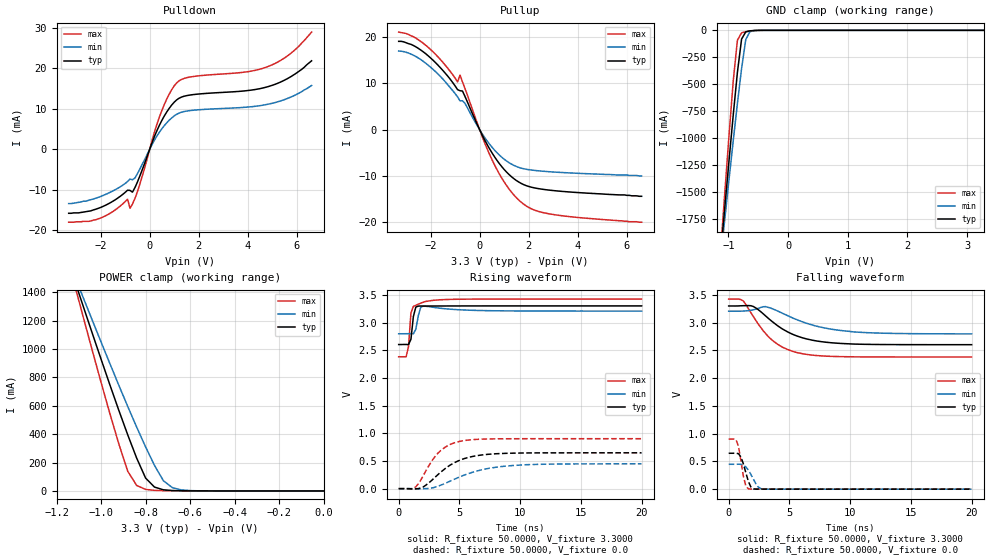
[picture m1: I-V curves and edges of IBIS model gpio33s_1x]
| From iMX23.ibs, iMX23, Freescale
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|   Model gpio33s_1x
[Model]  gpio33s_1x
Model_type I/O
Polarity   Non-Inverting
Enable   Active-Low
Vinl =   0.8000V
Vinh =   2.0000V
Vmeas =  1.6500V
Cref =   30.0000pF
Rref =   50.0000
Vref =   1.6500V
C_comp   3.0000pF   2.0000pF   4.0000pF
[Temperature Range]   50.0000   100.0000   0.0
[Voltage Range]   3.3000V   3.0000V   3.6000V
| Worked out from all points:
|   slope of the pulldown table from 0 to 0.495 V, typ, clamps not added: 69.4 ohm
|   slope of the pullup table from 0 to 0.495 V, typ, clamps not added: 100 ohm
|   GND clamp passes 1 mA (typ) near -0.53 V on its own axis
|   POWER clamp passes 1 mA (typ) near -0.63 V on its own axis
|   rising waveform, R_fixture 50.0000, V_fixture 3.3000: 20-80 % time 240ps typ, 207ps min, 263ps max; typ from 2.6 V to 3.3 V
|   rising waveform, R_fixture 50.0000, V_fixture 0.0: 20-80 % time 2.46ns typ, 3.46ns min, 1.77ns max; typ from 0 V to 0.647 V
|   falling waveform, R_fixture 50.0000, V_fixture 3.3000: 20-80 % time 3.02ns typ, 3.68ns min, 2.46ns max; typ from 3.3 V to 2.6 V
|   falling waveform, R_fixture 50.0000, V_fixture 0.0: 20-80 % time 534ps typ, 701ps min, 423ps max; typ from 0.647 V to 0 V
[Pulldown]
|Voltage   I(typ)   I(min)   I(max)
-3.3V     -15.8mA    -13.4mA    -18mA
-2V       -14.36mA   -11.65mA   -16.97mA
-900mV    -10.09mA   -7.947mA   -12.32mA
-800mV    -10.15mA   -7.34mA    -14.55mA
-700mV    -10.57mA   -7.514mA   -13.49mA
-600mV    -9.461mA   -7.082mA   -12.14mA
500mV     7.192mA    5.125mA    9.655mA
900mV     10.97mA    7.786mA    14.77mA
1.2V      12.65mA    8.983mA    16.95mA
4.8V      15.47mA    11.14mA    20.43mA
5.7V      17.78mA    12.8mA     23.49mA
6.6V      21.9mA     15.8mA     29mA
[Pullup]
|Voltage   I(typ)   I(min)   I(max)
-3.3V     19.1mA     17mA       21.1mA
-2.7V     18.2mA     16.1mA     20.1mA
-2.1V     15.98mA    13.95mA    17.81mA
-900mV    8.662mA    7.085mA    10.32mA
-800mV    8.419mA    6.229mA    11.81mA
-600mV    7.215mA    5.717mA    8.94mA
100mV     -1.111mA   -850.3uA   -1.424mA
600mV     -5.81mA    -4.381mA   -7.542mA
1.2V      -9.706mA   -7.14mA    -12.84mA
1.8V      -11.89mA   -8.451mA   -16.13mA
3.1V      -13.21mA   -9.181mA   -18.42mA
6.6V      -14.4mA    -10mA      -20mA
[GND_clamp]
|Voltage   I(typ)   I(min)   I(max)
-3.3V     -16.05A    -13.81A    -19.4A
-1.13V    -2.072A    -2.112A    -2.035A
-1.06V    -1.636A    -1.745A    -1.497A
-990mV    -1.206A    -1.382A    -971.1mA
-920mV    -786.7mA   -1.025A    -470.7mA
-850mV    -390.5mA   -679.5mA   -92.21mA
-780mV    -81.38mA   -354.3mA   -23.04mA
-710mV    -14.58mA   -85.27mA   -12.47mA
-640mV    -4.818mA   -12.73mA   -6.689mA
-570mV    -1.703mA   -2.139mA   -2.771mA
3.28V     -344.8nA   4.18uA     -6.865uA
[POWER_clamp]
|Voltage   I(typ)   I(min)   I(max)
-3.28V    12.03A     10.28A     14.68A
-1.12V    1.489A     1.518A     1.459A
-1.08V    1.3A       1.361A     1.225A
-920mV    566.8mA    743.5mA    330.2mA
-880mV    394mA      594.3mA    137.8mA
-840mV    230.9mA    449.2mA    38.56mA
-800mV    90.47mA    310.1mA    10.5mA
-760mV    26.97mA    179.7mA    3.981mA
-720mV    7.883mA    71.6mA     2.263mA
-680mV    2.674mA    23.37mA    1.532mA
-560mV    297.8uA    770.1uA    384.8uA
0V        566.7pA    1.536nA    254.7pA
[Ramp]
| variable   typ   min   max
dV/dt_r  0.3881/2.4442n   0.2689/3.4329n   0.5411/1.7541n
dV/dt_f  0.4184/2.9881n   0.2988/3.9093n   0.5553/2.3211n
R_load = 50.0000
[Rising Waveform]
R_fixture= 50.0000
V_fixture= 3.3000
|time   V(typ)   V(min)   V(max)
0s        2.603V     2.797V     2.381V
610ps     2.604V     2.798V     2.38V
810ps     2.601V     2.798V     2.563V
1.01ns    2.697V     2.797V     3.173V
1.21ns    3.108V     2.797V     3.29V
1.41ns    3.278V     2.877V     3.311V
1.82ns    3.298V     3.276V     3.35V
2.22ns    3.297V     3.293V     3.38V
6.87ns    3.3V       3.216V     3.423V
20ns      3.3V       3.207V     3.424V
[Rising Waveform]
R_fixture= 50.0000
V_fixture= 0.0
|time   V(typ)   V(min)   V(max)
0s        0V         0V         0V
1.01ns    -3.192mV   78.89uV    -9.494mV
1.41ns    -3.339mV   -2.567mV   33.01mV
2.02ns    30.09mV    -1.195mV   233.2mV
3.23ns    252.8mV    42.71mV    639.9mV
4.04ns    395.6mV    116.3mV    775.5mV
5.05ns    514.9mV    213.9mV    854.4mV
6.87ns    608.8mV    342mV      893.9mV
9.29ns    640.1mV    415.6mV    901mV
20ns      646.8mV    448.1mV    901.8mV
[Falling Waveform]
R_fixture= 50.0000
V_fixture= 3.3000
|time   V(typ)   V(min)   V(max)
0s        3.3V       3.207V     3.424V
1.21ns    3.305V     3.208V     3.389V
2.02ns    3.292V     3.23V      3.115V
3.03ns    3.123V     3.289V     2.806V
3.64ns    3.009V     3.246V     2.673V
4.44ns    2.884V     3.167V     2.556V
5.66ns    2.756V     3.049V     2.459V
7.47ns    2.662V     2.924V     2.404V
10.3ns    2.614V     2.833V     2.384V
20ns      2.603V     2.797V     2.381V
[Falling Waveform]
R_fixture= 50.0000
V_fixture= 0.0
|time   V(typ)   V(min)   V(max)
0s        646.9mV    448.2mV    901.8mV
610ps     648.4mV    448.6mV    890mV
810ps     638.3mV    449.3mV    766.6mV
1.21ns    456.2mV    435.3mV    231.1mV
1.41ns    297.8mV    401.4mV    57.72mV
1.62ns    141.5mV    344.1mV    5.618mV
2.02ns    5.641mV    187.2mV    900.3uV
2.42ns    985.4uV    40.91mV    756.8uV
2.83ns    664uV      2.303mV    607.9uV
20ns      2.648uV    4.13uV     1.621uV
